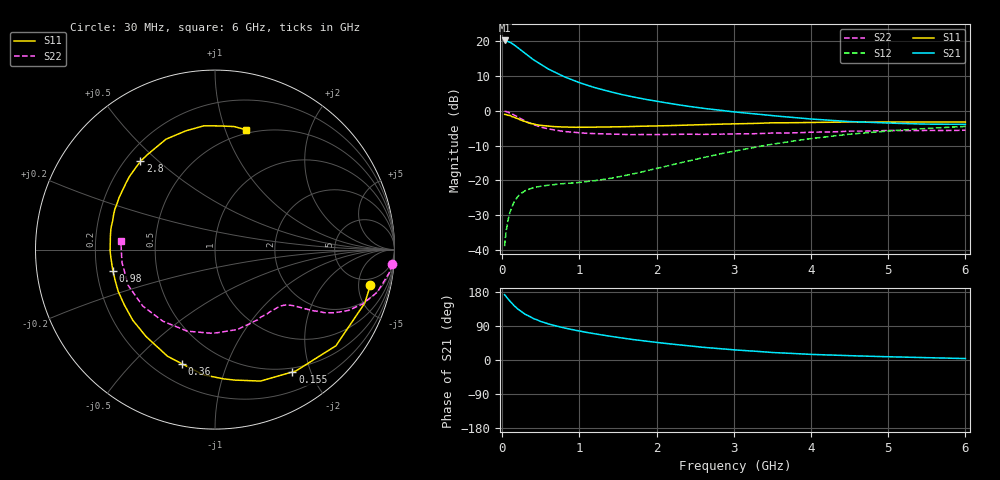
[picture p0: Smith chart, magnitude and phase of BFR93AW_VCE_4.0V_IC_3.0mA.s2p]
! Infineon Technologies  Discrete & RF Semiconductors
! BFR93AW
! VCE =  4.0 V,  IC =  3.0 mA
! Common Emitter S-Parameters:  Nov 2015
# GHz  S  MA  R  50
!  f  S11  S21  S12  S22
! GHz  MAG  ANG  MAG  ANG  MAG  ANG  MAG  ANG
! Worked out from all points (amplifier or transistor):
!   206 points, 30 MHz to 6 GHz, reference 50 ohm
!   highest |S21| = 20.2 dB at 30 MHz (marker M1)
!   |S21| within 3 dB of that: start of sweep to 254.5 MHz
!   unconditionally stable (mu >= 1): 1.106 GHz to 2.3 GHz
!   at 200 MHz: K = 0.21, MSG = 21.4 dB, |S12| = -24.6 dB
!   at 1.56 GHz: K = 1.13, MAG = 9.5 dB, |S12| = -18.7 dB
!   at 6 GHz: K = 0.97, MSG = 0.3 dB, |S12| = -4.5 dB
!   S11 on the Smith chart (normalised r, x): 30 MHz: 3.73, -6.95; 155 MHz: 0.44, -1.73; 360 MHz: 0.31, -0.70; 980 MHz: 0.27, -0.10; 2.8 GHz: 0.26, +0.44; 6 GHz: 0.47, +1.19
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0.03  0.8881 -12.8  10.23 172.3  0.0114 83.6  0.9893 -4.7
0.05  0.8862 -19.6  10.13 166.9  0.0186 78.1  0.9789 -7.7
0.1  0.8609 -38.5  9.674 154.9  0.0354 70.6  0.9348 -14.7
0.155  0.8066 -57.7  8.816 142.9  0.0494 60.9  0.8698 -20.7
0.2  0.7752 -70.9  8.109 134.7  0.0587 55.6  0.8169 -24.5
0.26  0.7215 -86.3  7.165 125.5  0.0672 49.2  0.7492 -28.0
0.3  0.7002 -95.5  6.614 120.3  0.0716 46.0  0.7112 -29.7
0.36  0.6619 -106.3  5.89 114.4  0.0758 43.2  0.6655 -31.1
0.4  0.6505 -114.0  5.45 109.7  0.0787 41.5  0.6354 -32.2
0.5  0.6182 -128.4  4.618 101.5  0.0829 39.0  0.583 -33.9
0.6  0.6038 -139.4  3.964 95.1  0.0857 38.0  0.5494 -35.0
0.8  0.5872 -156.8  3.097 84.6  0.0904 39.1  0.5048 -37.7
0.98  0.5804 -168.1  2.586 77.2  0.0933 42.2  0.4861 -40.1
1.04  0.5804 -171.5  2.452 74.8  0.095 43.4  0.4803 -41.3
1.2  0.5846 -179.4  2.149 69.0  0.0994 47.3  0.471 -44.4
1.5  0.5917 168.6  1.761 59.6  0.1122 54.5  0.461 -51.0
2.02  0.6083 150.9  1.358 45.8  0.1503 63.8  0.4562 -64.6
2.8  0.6438 130.2  1.026 30.2  0.2386 66.5  0.4621 -86.6
3.1  0.6524 122.9  0.942 25.5  0.2766 64.6  0.4661 -95.5
4.1  0.6823 102.0  0.75 14.2  0.4114 53.5  0.494 -129.4
5.1  0.6896 86.4  0.662 8.1  0.5235 38.9  0.5201 -160.3
6  0.6894 75.3  0.64 3.8  0.5976 26.6  0.5268 174.8
